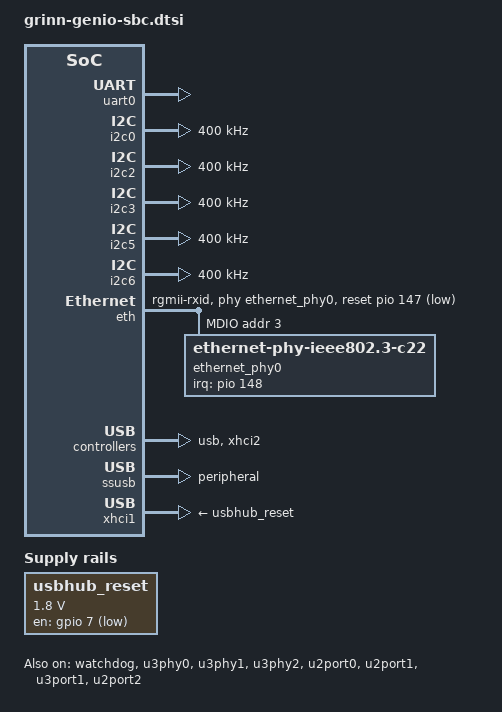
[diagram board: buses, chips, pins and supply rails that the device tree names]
// SPDX-License-Identifier: GPL-2.0 OR MIT
/*
 * Copyright (C) 2025 Grinn sp. z o.o.
 * Author: Mateusz Koza <mateusz.koza@grinn-global.com>
 */

/ {
	chosen {
		stdout-path = &uart0;
	};

	usbhub_reset: usbhub-reset {
		compatible = "regulator-fixed";
		regulator-name = "usbhub-reset";
		regulator-min-microvolt = <1800000>;
		regulator-max-microvolt = <1800000>;
		gpio = <&gpio 7 GPIO_ACTIVE_HIGH>;
		enable-active-low;
	};
};

&uart0 {
	status = "okay";
};

&i2c0 {
	pinctrl-names = "default";
	pinctrl-0 = <&i2c0_pin>;
	clock-frequency = <400000>;
	status = "okay";
};

&i2c2 {
	pinctrl-names = "default";
	pinctrl-0 = <&i2c2_pin>;
	clock-frequency = <400000>;
	status = "okay";
};

&i2c3 {
	pinctrl-names = "default";
	pinctrl-0 = <&i2c3_pin>;
	clock-frequency = <400000>;
	status = "okay";
};

&i2c5 {
	pinctrl-names = "default";
	pinctrl-0 = <&i2c5_pin>;
	clock-frequency = <400000>;
	status = "okay";
};

&i2c6 {
	pinctrl-names = "default";
	pinctrl-0 = <&i2c6_pin>;
	clock-frequency = <400000>;
	status = "okay";
};

&pio {
	i2c0_pin: i2c0-pin {
		pins-bus {
			pinmux = <PINMUX_GPIO56__FUNC_B1_SDA0>,
				 <PINMUX_GPIO55__FUNC_B1_SCL0>;
			bias-pull-up = <MTK_PULL_SET_RSEL_011>;
			mediatek,drive-strength-adv = <7>;
		};
	};

	i2c2_pin: i2c2-pin {
		pins-bus {
			pinmux = <PINMUX_GPIO60__FUNC_B1_SDA2>,
				 <PINMUX_GPIO59__FUNC_B1_SCL2>;
			bias-pull-up = <MTK_PULL_SET_RSEL_011>;
			mediatek,drive-strength-adv = <7>;
		};
	};

	i2c3_pin: i2c3-pin {
		pins-bus {
			pinmux = <PINMUX_GPIO62__FUNC_B1_SDA3>,
				 <PINMUX_GPIO61__FUNC_B1_SCL3>;
			bias-pull-up = <MTK_PULL_SET_RSEL_011>;
			mediatek,drive-strength-adv = <7>;
		};
	};

	i2c5_pin: i2c5-pin {
		pins-bus {
			pinmux = <PINMUX_GPIO66__FUNC_B1_SDA5>,
				 <PINMUX_GPIO65__FUNC_B1_SCL5>;
			bias-pull-up = <MTK_PULL_SET_RSEL_011>;
			mediatek,drive-strength-adv = <7>;
		};
	};

	i2c6_pin: i2c6-pin {
		pins-bus {
			pinmux = <PINMUX_GPIO68__FUNC_B1_SDA6>,
				 <PINMUX_GPIO67__FUNC_B1_SCL6>;
			bias-pull-up = <MTK_PULL_SET_RSEL_011>;
			mediatek,drive-strength-adv = <7>;
		};
	};

	eth_default_pins: ethdefault {
		pins-cc {
			pinmux = <PINMUX_GPIO139__FUNC_B0_GBE_TXC>,
				 <PINMUX_GPIO140__FUNC_I0_GBE_RXC>,
				 <PINMUX_GPIO141__FUNC_I0_GBE_RXDV>,
				 <PINMUX_GPIO142__FUNC_O_GBE_TXEN>;
			drive-strength = <MTK_DRIVE_8mA>;
		};

		pins-mdio {
			pinmux = <PINMUX_GPIO143__FUNC_O_GBE_MDC>,
				 <PINMUX_GPIO144__FUNC_B1_GBE_MDIO>;
			drive-strength = <MTK_DRIVE_8mA>;
			input-enable;
		};

		pins-power {
			pinmux = <PINMUX_GPIO145__FUNC_B_GPIO145>,
				 <PINMUX_GPIO146__FUNC_B_GPIO146>;
			output-high;
		};

		pins-rxd {
			pinmux = <PINMUX_GPIO135__FUNC_I0_GBE_RXD3>,
				 <PINMUX_GPIO136__FUNC_I0_GBE_RXD2>,
				 <PINMUX_GPIO137__FUNC_I0_GBE_RXD1>,
				 <PINMUX_GPIO138__FUNC_I0_GBE_RXD0>;
			drive-strength = <MTK_DRIVE_8mA>;
		};

		pins-txd {
			pinmux = <PINMUX_GPIO131__FUNC_O_GBE_TXD3>,
				 <PINMUX_GPIO132__FUNC_O_GBE_TXD2>,
				 <PINMUX_GPIO133__FUNC_O_GBE_TXD1>,
				 <PINMUX_GPIO134__FUNC_O_GBE_TXD0>;
			drive-strength = <MTK_DRIVE_8mA>;
		};
	};

	eth_sleep_pins: ethsleep {
		pins-cc {
			pinmux = <PINMUX_GPIO139__FUNC_B_GPIO139>,
				 <PINMUX_GPIO140__FUNC_B_GPIO140>,
				 <PINMUX_GPIO141__FUNC_B_GPIO141>,
				 <PINMUX_GPIO142__FUNC_B_GPIO142>;
		};

		pins-mdio {
			pinmux = <PINMUX_GPIO143__FUNC_B_GPIO143>,
				 <PINMUX_GPIO144__FUNC_B_GPIO144>;
			input-disable;
			bias-disable;
		};

		pins-rxd {
			pinmux = <PINMUX_GPIO135__FUNC_B_GPIO135>,
				 <PINMUX_GPIO136__FUNC_B_GPIO136>,
				 <PINMUX_GPIO137__FUNC_B_GPIO137>,
				 <PINMUX_GPIO138__FUNC_B_GPIO138>;
		};

		pins-txd {
			pinmux = <PINMUX_GPIO131__FUNC_B_GPIO131>,
				 <PINMUX_GPIO132__FUNC_B_GPIO132>,
				 <PINMUX_GPIO133__FUNC_B_GPIO133>,
				 <PINMUX_GPIO134__FUNC_B_GPIO134>;
		};
	};
};

&eth {
	phy-mode ="rgmii-rxid";
	phy-handle = <&ethernet_phy0>;
	mediatek,tx-delay-ps = <2030>;
	pinctrl-names = "default", "sleep";
	pinctrl-0 = <&eth_default_pins>;
	pinctrl-1 = <&eth_sleep_pins>;
	snps,reset-active-low;
	snps,reset-delays-us = <0 11000 200000>;
	snps,reset-gpio = <&pio 147 GPIO_ACTIVE_LOW>;
	status = "okay";

	mdio {
		compatible = "snps,dwmac-mdio";
		#address-cells = <1>;
		#size-cells = <0>;
		ethernet_phy0: ethphy0@3 {
			reg = <3>;
			compatible = "ethernet-phy-ieee802.3-c22";
			eee-broken-1000t;
			interrupts-extended = <&pio 148 IRQ_TYPE_LEVEL_LOW>;
		};
	};
};

&watchdog {
	status = "okay";
};

&u3phy0 {
	status = "okay";
};

&u3phy1 {
	status = "okay";
};

&u3phy2 {
	status = "okay";
};

&u2port0 {
	status = "okay";
};

&u2port1 {
	status = "okay";
};

&u3port1 {
	status = "okay";
};

&u2port2 {
	status = "okay";
};

&usb {
	status = "okay";
};

&ssusb {
	mediatek,force-vbus;
	maximum-speed = "high-speed";
	dr_mode = "peripheral";
	status = "okay";
};

&xhci1 {
	vusb33-supply = <&mt6359_vusb_ldo_reg>;
	vbus-supply = <&usbhub_reset>;
	status = "okay";
};

&xhci2 {
	vusb33-supply = <&mt6359_vusb_ldo_reg>;
	status = "okay";
};
